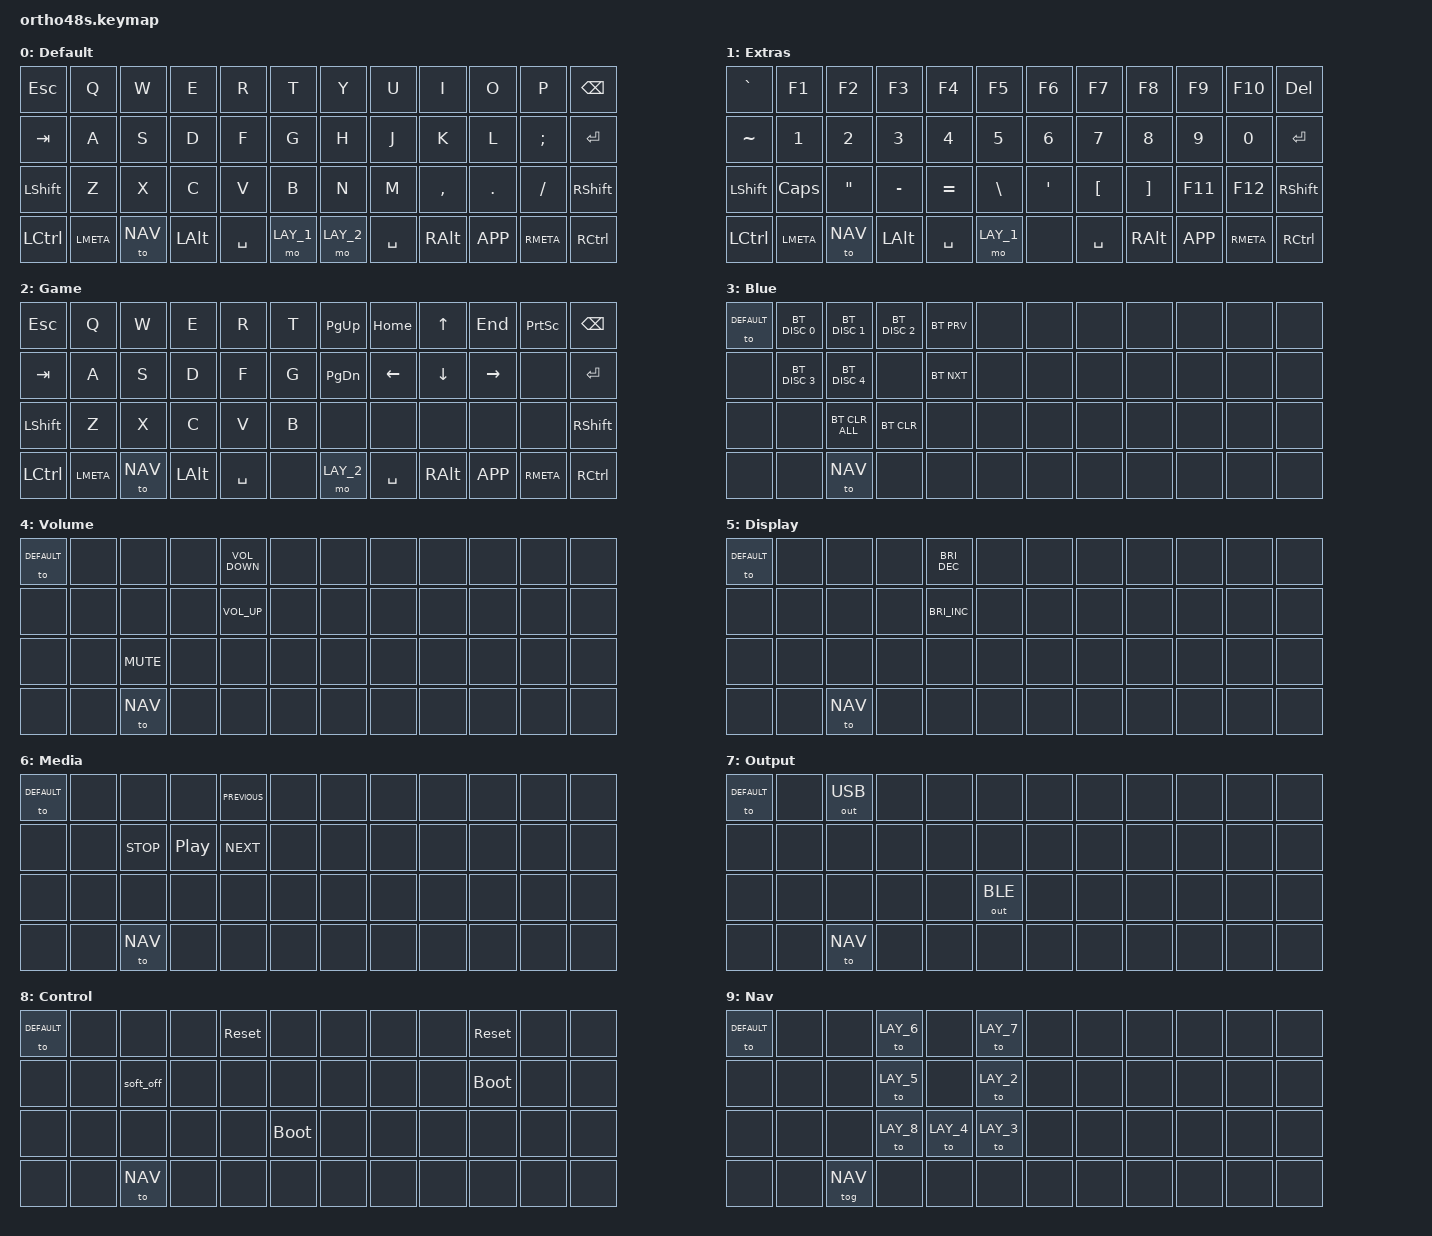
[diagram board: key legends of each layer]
// Keymap for ortho48s.
#include <behaviors.dtsi>
// General keycodes:
#include <dt-bindings/zmk/keys.h>
// Bluetooth commands:
#include <dt-bindings/zmk/bt.h>
// Output selection commands:
#include <dt-bindings/zmk/outputs.h>
// External power control:
#include <dt-bindings/zmk/ext_power.h>

#define DEFAULT 0
// The Default layer, QWERTY layout,
// with some function keys:
// Esc, Tab, Shift, Ctrl, Meta, Alt, Backspace and Enter.

#define LAY_1 1
// This layer has Fn keys(F1~F12), numbers(1~0),
// CapsLock and all extra signs: '"[{}]\|-_=+

#define LAY_2 2
// This layer is designed for gameplay,
// but it could handle some scenes
// which may require movements with arrow keys.
// The left half has the same layout as the Default layer;
// The right half has arrow keys(⭠⭣⭡➝),
// Home, End, PageUp and PageDown functions,
// while all the other letter keys are removed using '&none',
// they are replaced with some other useful functions:
// PrintScreen(where 'p' stays) and some macros.

#define LAY_3 3
// This layer is used to handle bluetooth commands.
// It can cycle through all available bluetooth profiles,
// disconnect, clear current profile, or clear all profiles.

#define LAY_4 4
// This layer is used to adjust volume.

#define LAY_5 5
// This layer is used to adjust the brightness of the screen.

#define LAY_6 6
// Media playback control: Play, Pause, Stop, Previous and Next.

#define LAY_7 7
// Output selection: choose USB or Bluetooth.

#define LAY_8 8
// Soft off, reset and reset to bootloader.

#define NAV 9
// This layer sets several entrance for other layers:
// Bluetooth(b), Game(g), Volume(v), Screen Brightness(s)...

/{
  keymap {
    compatible = "zmk,keymap";
    // Note: To prevent unexpected behaviors, set each key explicitly, do not use '&trans'.
    default_layer {
      display-name = "Default";
// -----------------------------------------------------------------------------------------------------------
// Esc      q       w       e       r       t               y       u       i       o       p       ←
// Tab      a       s       d       f       g               h       j       k       l       ;:      ↵
// LShift   z       x       c       v       b               n       m       ,<      .>      /?      RShift
// LCtrl    LMeta   NAV     LAlt    ⍽       LAY_1           LAY_2   ⍽       RAlt    Menu    RMeta   RCtrl
// -----------------------------------------------------------------------------------------------------------
      bindings = <
        &kp ESC     &kp Q     &kp W   &kp E     &kp R     &kp T         &kp Y     &kp U     &kp I     &kp O     &kp P         &kp BACKSPACE
        &kp TAB     &kp A     &kp S   &kp D     &kp F     &kp G         &kp H     &kp J     &kp K     &kp L     &kp SEMICOLON &kp ENTER
        &kp LSHIFT  &kp Z     &kp X   &kp C     &kp V     &kp B         &kp N     &kp M     &kp COMMA &kp DOT   &kp SLASH     &kp RSHIFT
        &kp LCTRL   &kp LMETA &to NAV &kp LALT  &kp SPACE &mo LAY_1     &mo LAY_2 &kp SPACE &kp RALT  &kp K_APP &kp RMETA     &kp RCTRL
      >;
    }; // End of 'default_layer'.
    lay1_layer {
      display-name = "Extras";
// -----------------------------------------------------------------------------------------------------------
// `~       F1      F2      F3      F4      F5              F6      F7      F8      F9      F10     Delete
// ~        1!      2@      3#      4$      5%              6^      7&      8*      9(      0)      Enter
// LShift   Caps    "       -_      =+      \|              '"      [{      ]}      F11     F12     RShift
// LCtrl    LMeta   NAV     LAlt    ⍽       LAY_1           &none   ⍽       RAlt    Menu    RMeta   RCtrl
// -----------------------------------------------------------------------------------------------------------
      bindings = <
        &kp GRAVE   &kp F1    &kp F2            &kp F3    &kp F4    &kp F5            &kp F6            &kp F7            &kp F8            &kp F9    &kp F10   &kp DEL
        &kp TILDE   &kp N1    &kp N2            &kp N3    &kp N4    &kp N5            &kp N6            &kp N7            &kp N8            &kp N9    &kp N0    &kp ENTER
        &kp LSHIFT  &kp CAPS  &kp DOUBLE_QUOTES &kp MINUS &kp EQUAL &kp BACKSLASH     &kp SINGLE_QUOTE  &kp LEFT_BRACKET  &kp RIGHT_BRACKET &kp F11   &kp F12   &kp RSHIFT
        &kp LCTRL   &kp LMETA &to NAV           &kp LALT  &kp SPACE &mo LAY_1         &none             &kp SPACE         &kp RALT          &kp K_APP &kp RMETA &kp RCTRL
      >;
    }; // End of 'lay1_layer'.
    lay2_layer {
      display-name = "Game";
// ---------------------------------------------------------------------------------------------------------------------
// Esc      q       w       e       r       t               PageUp      Home    ⭡       End     PrintScreen   ←
// Tab      a       s       d       f       g               PageDown    ⭠       ⭣       ➝       &none         ↵
// LShift   z       x       c       v       b               &none       &none   &none   &none   &none         RShift
// LCtrl    LMeta   NAV     LAlt    ⍽       &none           LAY_2       ⍽       RAlt    Menu    RMeta         RCtrl
// ---------------------------------------------------------------------------------------------------------------------
      bindings = <
        &kp ESC     &kp Q     &kp W   &kp E     &kp R     &kp T     &kp PAGE_UP   &kp HOME  &kp UP    &kp END   &kp PRINTSCREEN &kp BACKSPACE
        &kp TAB     &kp A     &kp S   &kp D     &kp F     &kp G     &kp PAGE_DOWN &kp LEFT  &kp DOWN  &kp RIGHT &none           &kp ENTER
        &kp LSHIFT  &kp Z     &kp X   &kp C     &kp V     &kp B     &none         &none     &none     &none     &none           &kp RSHIFT
        &kp LCTRL   &kp LMETA &to NAV &kp LALT  &kp SPACE &none     &mo LAY_2     &kp SPACE &kp RALT  &kp K_APP &kp RMETA       &kp RCTRL
      >;
    }; // End of 'lay2_layer'.
    lay3_layer {
      display-name = "Blue";
// -------------------------------------------------------------------------------------------
// Note: Bluetooth command of disconnect can only disconnect specific profile.
//       If you want to change the number of available profiles,
//       set 'CONFIG_BT_MAX_CONN' and 'CONFIG_BT_MAX_PAIRED' in zmk '.conf' file,
//       with 'n+1' for a split keyboard.
//       The profile index is 0-based.
// -------------------------------------------------------------------------------------------
// DEFAULT  BT_DISC 0 BT_DISC 1 BT_DISC 2 BT_PRV  &none   &none &none &none &none &none &none
// &none    BT_DISC 3 BT_DISC 4 &none     BT_NXT  &none   &none &none &none &none &none &none
// &none    &none   BT_CLR_ALL  BT_CLR    &none   &none   &none &none &none &none &none &none
// &none    &none   NAV         &none     &none   &none   &none &none &none &none &none &none
// -------------------------------------------------------------------------------------------
      bindings = <
        &to DEFAULT &bt BT_DISC 0 &bt BT_DISC 1   &bt BT_DISC 2 &bt BT_PRV  &none     &none &none &none &none &none &none
        &none       &bt BT_DISC 3 &bt BT_DISC 4   &none         &bt BT_NXT  &none     &none &none &none &none &none &none
        &none       &none         &bt BT_CLR_ALL  &bt BT_CLR    &none       &none     &none &none &none &none &none &none
        &none       &none         &to NAV         &none         &none       &none     &none &none &none &none &none &none
      >;
    }; // End of 'lay3_layer'.
    lay4_layer {
      display-name = "Volume";
// ----------------------------------------------------------------------------
// DEFAULT &none &none &none Down  &none   &none &none &none &none &none &none
// &none   &none &none &none Up    &none   &none &none &none &none &none &none
// &none   &none Mute  &none &none &none   &none &none &none &none &none &none
// &none   &none NAV   &none &none &none   &none &none &none &none &none &none
// ----------------------------------------------------------------------------
      bindings = <
        &to DEFAULT &none &none       &none &kp C_VOLUME_DOWN &none     &none &none &none &none &none &none
        &none       &none &none       &none &kp C_VOLUME_UP   &none     &none &none &none &none &none &none
        &none       &none &kp C_MUTE  &none &none             &none     &none &none &none &none &none &none
        &none       &none &to NAV     &none &none             &none     &none &none &none &none &none &none
      >;
    }; // End of 'lay4_layer'.
    lay5_layer {
      display-name = "Display";
// -----------------------------------------------------------------------------
// DEFAULT &none &none &none Down  &none    &none &none &none &none &none &none
// &none   &none &none &none Up    &none    &none &none &none &none &none &none
// &none   &none &none &none &none &none    &none &none &none &none &none &none
// &none   &none NAV   &none &none &none    &none &none &none &none &none &none
// -----------------------------------------------------------------------------
      bindings = <
        &to DEFAULT &none &none   &none &kp C_BRIGHTNESS_DEC &none    &none &none &none &none &none &none
        &none       &none &none   &none &kp C_BRIGHTNESS_INC &none    &none &none &none &none &none &none
        &none       &none &none   &none &none                &none    &none &none &none &none &none &none
        &none       &none &to NAV &none &none                &none    &none &none &none &none &none &none
      >;
    }; // End of 'lay5_layer'.
    lay6_layer {
      display-name = "Media";
// -------------------------------------------------------------------------------------
// DEFAULT &none &none &none      Previous &none    &none &none &none &none &none &none
// &none   &none Stop  Pause,Play Next     &none    &none &none &none &none &none &none
// &none   &none &none &none      &none    &none    &none &none &none &none &none &none
// &none   &none NAV   &none      &none    &none    &none &none &none &none &none &none
// -------------------------------------------------------------------------------------
      bindings = <
        &to DEFAULT &none &none       &none             &kp C_PREVIOUS  &none    &none &none &none &none &none &none
        &none       &none &kp C_STOP  &kp C_PLAY_PAUSE  &kp C_NEXT      &none    &none &none &none &none &none &none
        &none       &none &none       &none             &none           &none    &none &none &none &none &none &none
        &none       &none &to NAV     &none             &none           &none    &none &none &none &none &none &none
      >;
    }; // End of 'lay6_layer'.
    lay7_layer {
      display-name = "Output";
// -----------------------------------------------------------------------------
// DEFAULT &none USB   &none &none &none    &none &none &none &none &none &none
// &none   &none &none &none &none &none    &none &none &none &none &none &none
// &none   &none &none &none &none BLE      &none &none &none &none &none &none
// &none   &none NAV   &none &none &none    &none &none &none &none &none &none
// -----------------------------------------------------------------------------
      bindings = <
        &to DEFAULT &none &out OUT_USB  &none &none &none           &none &none &none &none &none &none
        &none       &none &none         &none &none &none           &none &none &none &none &none &none
        &none       &none &none         &none &none &out OUT_BLE    &none &none &none &none &none &none
        &none       &none &to NAV       &none &none &none           &none &none &none &none &none &none
      >;
    }; // End of 'lay7_layer'.
    lay8_layer {
      display-name = "Control";
// -------------------------------------------------------------------------------------
// Note: Both basic and bootloader reset behaviors are source-specific,
//       which means both halves should be configured.
// ------------------------------------------------------------------------------------------
// DEFAULT &none &none    &none Reset &none         &none &none &none Reset      &none &none
// &none   &none Soft-off &none &none &none         &none &none &none Bootloader &none &none
// &none   &none &none    &none &none Bootloader    &none &none &none &none      &none &none
// &none   &none NAV      &none &none &none         &none &none &none &none      &none &none
// ------------------------------------------------------------------------------------------
      bindings = <
        &to DEFAULT &none &none     &none &sys_reset  &none           &none &none &none &sys_reset  &none &none
        &none       &none &soft_off &none &none       &none           &none &none &none &bootloader &none &none
        &none       &none &none     &none &none       &bootloader     &none &none &none &none       &none &none
        &none       &none &to NAV   &none &none       &none           &none &none &none &none       &none &none
      >;
    }; // End of 'lay8_layer'.
    nav_layer {
    // The 'NAV' layer, this layer should be defined after all layers.
      display-name = "Nav";
// -------------------------------------------------------------------------------------------
// DEFAULT  &none   &none     Media   &none   Output      &none &none &none &none &none &none
// &none    &none   &none     Screen  &none   Game        &none &none &none &none &none &none
// &none    &none   &none     Control Volume  Bluetooth   &none &none &none &none &none &none
// &none    &none   &tog NAV  &none   &none   &none       &none &none &none &none &none &none
// -------------------------------------------------------------------------------------------
      bindings = <
        &to DEFAULT &none &none     &to LAY_6 &none     &to LAY_7   &none &none &none &none &none &none
        &none       &none &none     &to LAY_5 &none     &to LAY_2   &none &none &none &none &none &none
        &none       &none &none     &to LAY_8 &to LAY_4 &to LAY_3   &none &none &none &none &none &none
        &none       &none &tog NAV  &none     &none     &none       &none &none &none &none &none &none
      >;
    }; // End of 'nav_layer'.
  }; // End of 'keymap'.
}; // End.
